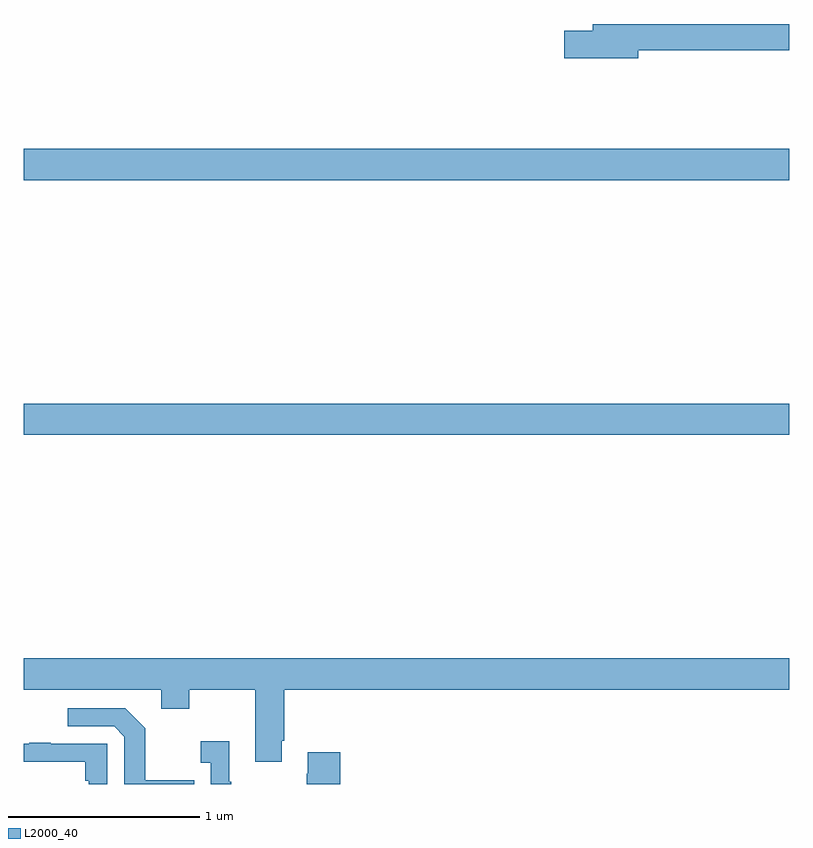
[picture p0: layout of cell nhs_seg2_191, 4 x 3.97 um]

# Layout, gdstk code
import gdstk
lib = gdstk.Library(unit=1e-6, precision=1e-09)
def R(c, l, rs):  # rectangles x0, y0, x1, y1
    for r in rs: c.add(gdstk.rectangle(r[:2], r[2:], *l))
def P(c, l, *ps):  # polygons
    for p in ps: c.add(gdstk.Polygon(p, *l))
L2000_40 = (2000, 40)

nhs_seg2_191 = lib.new_cell('nhs_seg2_191')
R(nhs_seg2_191, L2000_40, [(119,659.624,123,659.788), (119,660.956,123,661.12)])
P(nhs_seg2_191, L2000_40, [(122.212,661.636),(123,661.636),(123,661.772),(121.973,661.772),(121.973,661.736),(121.824,661.736),(121.824,661.594),(122.212,661.594)],
  [(120.349,658.027),(120.362,658.027),(120.362,658.292),(123,658.292),(123,658.456),(119,658.456),(119,658.292),(119.717,658.292),(119.717,658.193),(119.865,658.193),(119.865,658.292),(120.209,658.292),(120.209,657.915),(120.349,657.915)],
  [(119.891,657.819),(119.635,657.819),(119.635,658.091),(119.529,658.197),(119.229,658.197),(119.229,658.101),(119.472,658.101),(119.526,658.047),(119.526,657.8),(119.891,657.8)],
  [(120.085,657.811),(120.073,657.811),(120.073,658.024),(119.925,658.024),(119.925,657.911),(119.976,657.911),(119.976,657.8),(120.085,657.8)],
  [(119.436,658.011),(119.141,658.011),(119.141,658.016),(119.029,658.016),(119.029,658.011),(119,658.011),(119,657.915),(119.32,657.915),(119.32,657.818),(119.34,657.818),(119.34,657.8),(119.436,657.8)],
  [(120.653,657.967),(120.485,657.967),(120.485,657.854),(120.478,657.854),(120.478,657.8),(120.653,657.8)])

lib.write_gds('nhs_seg2_191.gds')
